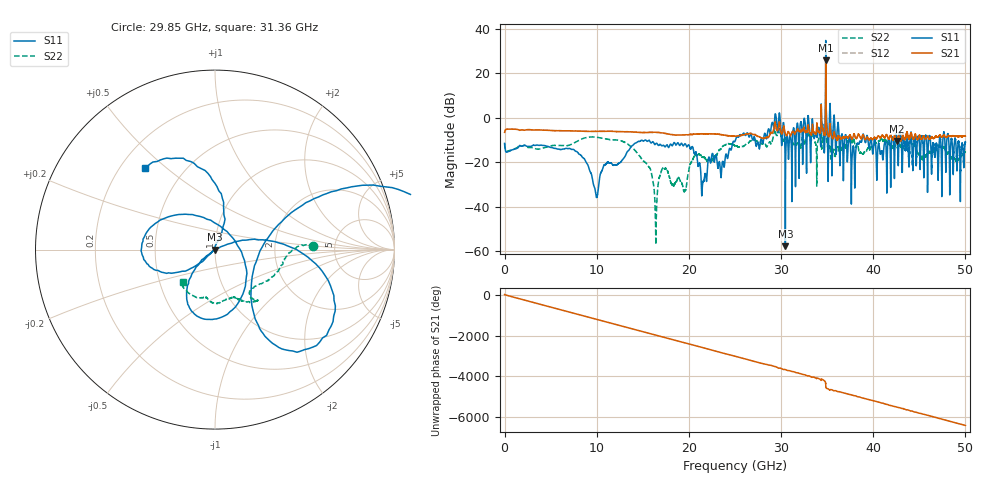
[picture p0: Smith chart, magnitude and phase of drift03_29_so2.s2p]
!Created with skrf (http://scikit-rf.org).
# Hz S RI R 50.0
!freq ReS11 ImS11 ReS21 ImS21 ReS12 ImS12 ReS22 ImS22
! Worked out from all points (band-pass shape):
!   10001 points, 300 kHz to 50 GHz, reference 50 ohm
!   highest |S21| = 25.95 dB at 34.85 GHz (marker M1); lowest = -10.4 dB at 42.55 GHz (marker M2)
!   |S21| within 3 dB of the highest: 34.84367 GHz to 34.84608 GHz (2.405 MHz wide, 0.0069 % of centre)
!   lowest |S11| = -57.8 dB at 30.47 GHz (marker M3), VSWR 1.00, Z = 50 - j0.125 ohm
!   |S11| at or under -10 dB: start of sweep to 15.23 GHz; 15.33 GHz to 25.05 GHz (9.727 GHz wide, 48.2 % of centre); 40.22 GHz to 41.62 GHz (1.4 GHz wide, 3.42 % of centre) (the widest 3 of 53)
!   |S22| runs from -57.1 to 16.9 dB; largest |S21 - S12| = 2.8
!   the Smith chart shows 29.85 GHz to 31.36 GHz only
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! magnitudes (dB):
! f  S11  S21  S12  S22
! 300 kHz  -11.5  -6.5  -6.5  -11.5
! 8.335 GHz  -17.1  -6.0  -6.0  -9.6
! 9.955 GHz  -35.6  -6.1  -6.1  -8.7
! 11 GHz  -20.9  -6.1  -6.1  -9.5
! 13.93 GHz  -12.3  -6.3  -6.3  -13.8
! 16.36 GHz  -11.9  -6.5  -6.5  -42.9
! 16.67 GHz  -12.4  -6.5  -6.5  -29.6
! 17.33 GHz  -12.7  -6.9  -6.9  -22.9
! 19.55 GHz  -11.7  -7.7  -7.7  -32.7
! 20.21 GHz  -13.9  -7.5  -7.5  -20.3
! 21.55 GHz  -28.6  -7.2  -7.2  -17.7
! 25 GHz  -10.6  -8.3  -8.2  -12.5
! 29.6 GHz  -5.5  -5.7  -5.9  -7.9
! 30.47 GHz  -57.8  -7.2  -7.2  -9.0
! 33.34 GHz  -3.8  -6.9  -6.7  -9.4
! 34.85 GHz  34.9  25.9  25.7  16.9
! 35.63 GHz  -5.8  -9.3  -9.3  -15.9
! 37.82 GHz  -12.7  -8.4  -8.3  -9.9
! 38.81 GHz  -9.2  -8.3  -8.3  -16.1
! 41.67 GHz  -9.4  -9.4  -9.4  -11.3
! 42.55 GHz  -8.4  -10.4  -10.4  -13.1
! 50 GHz  -10.9  -8.2  -8.2  -15.4
